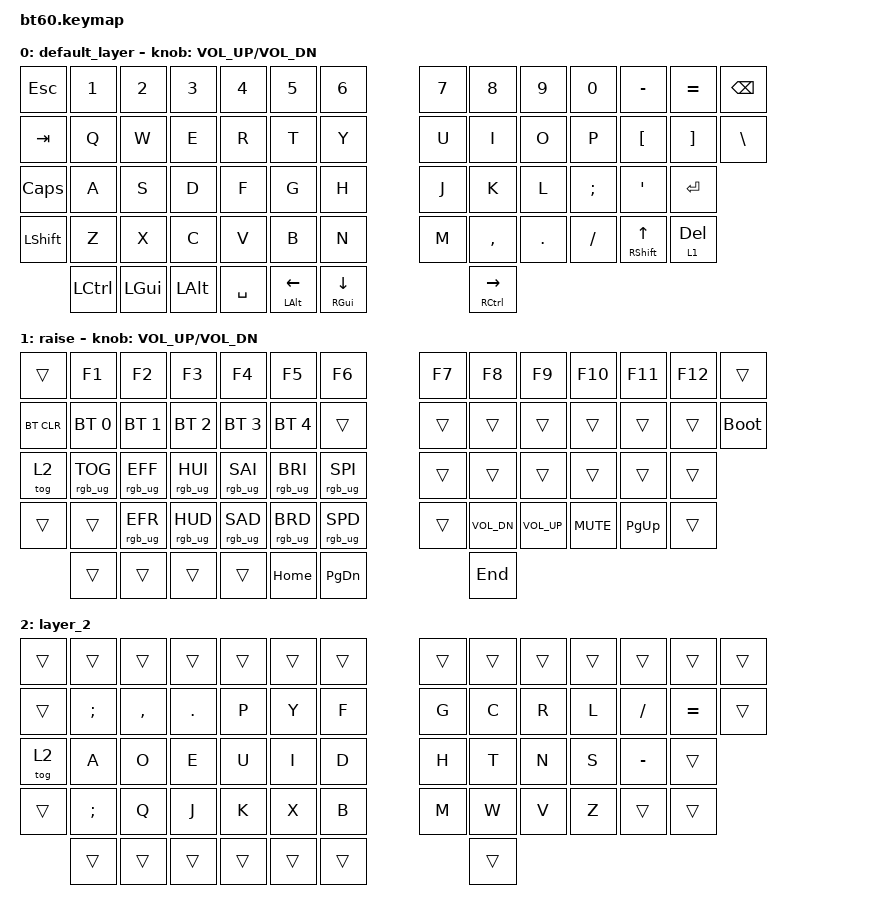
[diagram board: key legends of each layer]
#include <behaviors.dtsi>
#include <dt-bindings/zmk/bt.h>
#include <dt-bindings/zmk/keys.h>
#include <dt-bindings/zmk/rgb.h>

/ {
    keymap {
        compatible = "zmk,keymap";

        default_layer {
            // ------------------------------------------------------------------------------------------
            // |  `  |  1  |  2  |  3  |  4  |  5  |  6  |  7  |  8  |  9  |  0  |  -  |  =  |   BKSP
            // | TAB  |  Q  |  W  |  E  |  R  |  T  |  Y  |  U  |  I  |  O  |  P  |  [  |  ]  |   |
            // | CAPS  |  A  |  S  |  D  |  F  |  G  |  H  |  J  |  K  |  L  |  ;  |  '  |     ENTER
            // |  SHIFT    |  Z  |  X  |  C  |  V  |  B  |  N  |  M  |  ,  |  .  | /   |      SHIFT
            // |  CTL  |  WIN  |  ALT  |            SPACE               | ALT | 1    |  MENU    |  CTRL
            // ------------------------------------------------------------------------------------------

            bindings = <
&kp ESC    &kp N1     &kp N2    &kp N3    &kp N4     &kp N5         &kp N6               &kp N7  &kp N8           &kp N9   &kp N0    &kp MINUS            &kp EQUAL  &kp BSPC
&kp TAB    &kp Q      &kp W     &kp E     &kp R      &kp T          &kp Y                &kp U   &kp I            &kp O    &kp P     &kp LBKT             &kp RBKT   &kp BSLH
&kp CAPS   &kp A      &kp S     &kp D     &kp F      &kp G          &kp H                &kp J   &kp K            &kp L    &kp SEMI  &kp SQT              &kp RET
&kp LSHFT  &kp Z      &kp X     &kp C     &kp V      &kp B          &kp N                &kp M   &kp COMMA        &kp DOT  &kp FSLH  &mt RSHIFT UP_ARROW  &lt 1 DEL
           &kp LCTRL  &kp LGUI  &kp LALT  &kp SPACE  &mt LALT LEFT  &mt RGUI DOWN_ARROW          &mt RCTRL RIGHT
            >;

            sensor-bindings = <&inc_dec_kp C_VOL_UP C_VOL_DN>;
        };

        raise {
            bindings = <
&trans      &kp F1           &kp F2           &kp F3           &kp F4           &kp F5           &kp F6           &kp F7  &kp F8        &kp F9        &kp F10     &kp F11      &kp F12  &trans
&bt BT_CLR  &bt BT_SEL 0     &bt BT_SEL 1     &bt BT_SEL 2     &bt BT_SEL 3     &bt BT_SEL 4     &trans           &trans  &trans        &trans        &trans      &trans       &trans   &bootloader
&tog 2      &rgb_ug RGB_TOG  &rgb_ug RGB_EFF  &rgb_ug RGB_HUI  &rgb_ug RGB_SAI  &rgb_ug RGB_BRI  &rgb_ug RGB_SPI  &trans  &trans        &trans        &trans      &trans       &trans
&trans      &trans           &rgb_ug RGB_EFR  &rgb_ug RGB_HUD  &rgb_ug RGB_SAD  &rgb_ug RGB_BRD  &rgb_ug RGB_SPD  &trans  &kp C_VOL_DN  &kp C_VOL_UP  &kp C_MUTE  &kp PAGE_UP  &trans
            &trans           &trans           &trans           &trans           &kp HOME         &kp PAGE_DOWN            &kp END
            >;

            sensor-bindings = <&inc_dec_kp C_VOL_UP C_VOL_DN>;
        };

        layer_2 {
            bindings = <
&trans  &trans         &trans     &trans      &trans  &trans  &trans  &trans  &trans  &trans  &trans  &trans     &trans     &trans
&trans  &kp SEMICOLON  &kp COMMA  &kp PERIOD  &kp P   &kp Y   &kp F   &kp G   &kp C   &kp R   &kp L   &kp SLASH  &kp EQUAL  &trans
&tog 2  &kp A          &kp O      &kp E       &kp U   &kp I   &kp D   &kp H   &kp T   &kp N   &kp S   &kp MINUS  &trans
&trans  &kp SEMICOLON  &kp Q      &kp J       &kp K   &kp X   &kp B   &kp M   &kp W   &kp V   &kp Z   &trans     &trans
        &trans         &trans     &trans      &trans  &trans  &trans          &trans
            >;
        };
    };
};
